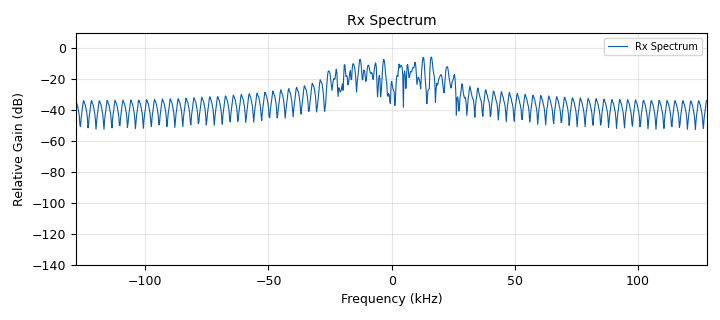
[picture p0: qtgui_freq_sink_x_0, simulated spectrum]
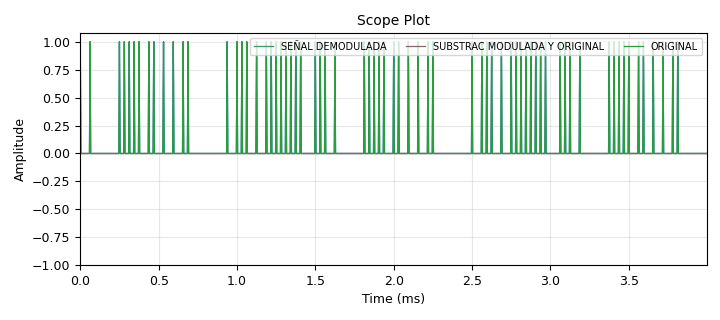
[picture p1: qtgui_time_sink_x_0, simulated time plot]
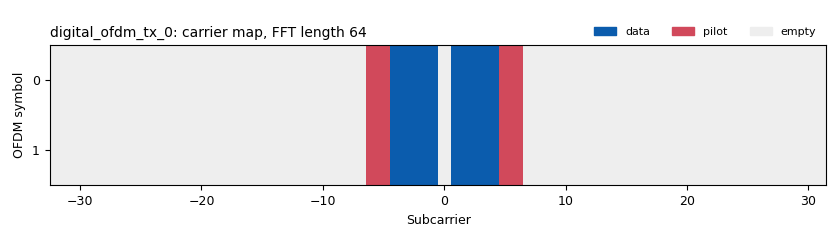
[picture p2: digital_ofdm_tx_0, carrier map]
options:
  parameters:
    category: Custom
    description: Transmit a pre-defined signal (a complex sine) as OFDM packets.
    generate_options: qt_gui
    id: ofdm_loopback_example
    output_language: python
    title: OFDM Loopback Example
  states: {}

blocks:
- name: fft_len
  id: variable
  parameters:
    value: '64'
  states: {}
- name: freq_offset
  id: variable_qtgui_range
  parameters:
    label: freq offset
    start: '-100e-3'
    step: '1e-3'
    stop: '100e-3'
    value: '0'
  states: {}
- name: len_tag_key
  id: variable
  parameters:
    value: '"packet_len"'
  states: {}
- name: noise_offset
  id: variable_qtgui_range
  parameters:
    label: noise offset
    start: '0'
    step: '10e-3'
    stop: '1'
    value: '0'
  states: {}
- name: packet_len
  id: variable
  parameters:
    value: '50'
  states: {}
- name: samp_rate
  id: variable
  parameters:
    value: '256000'
  states: {}
- name: taps
  id: variable
  parameters:
    value: '[1.0 + 0.0j, ]'
  states: {}
- name: time_offset
  id: variable_qtgui_range
  parameters:
    label: time offset
    start: '999e-3'
    step: '1e-6'
    stop: '1.001'
    value: '999e-3'
  states: {}
- name: analog_random_source_x_0
  id: analog_random_source_x
  parameters:
    max: '2'
    min: '0'
    num_samps: packet_len
    repeat: 'True'
    type: byte
  states: {}
- name: blocks_delay_0
  id: blocks_delay
  parameters:
    delay: '100'
    type: byte
  states: {}
- name: blocks_repack_bits_bb_0
  id: blocks_repack_bits_bb
  parameters:
    endianness: gr.GR_LSB_FIRST
    k: '8'
    l: '1'
  states: {}
- name: blocks_repack_bits_bb_0_0
  id: blocks_repack_bits_bb
  parameters:
    endianness: gr.GR_LSB_FIRST
    k: '8'
    l: '1'
  states: {}
- name: blocks_stream_to_tagged_stream_0
  id: blocks_stream_to_tagged_stream
  parameters:
    comment: |-
      Permite etiquetar el paquete 
      de datos generado.
    len_tag_key: len_tag_key
    packet_len: packet_len
    type: byte
  states: {}
- name: blocks_sub_xx_0
  id: blocks_sub_xx
  parameters:
    type: float
  states: {}
- name: blocks_throttle2_0
  id: blocks_throttle2
  parameters:
    samples_per_second: samp_rate
    type: complex
  states: {}
- name: blocks_uchar_to_float_0
  id: blocks_uchar_to_float
  parameters: {}
  states: {}
- name: blocks_uchar_to_float_0_0
  id: blocks_uchar_to_float
  parameters: {}
  states: {}
- name: blocks_vector_source_x_0
  id: blocks_vector_source_x
  parameters:
    repeat: 'True'
    type: byte
    vector: (1,0,0,1)
  states: {state: disabled}
- name: channels_channel_model_0
  id: channels_channel_model
  parameters:
    epsilon: time_offset
    freq_offset: freq_offset
    noise_voltage: noise_offset
    seed: '0'
    taps: taps
  states: {}
- name: digital_ofdm_rx_0
  id: digital_ofdm_rx
  parameters:
    cp_len: fft_len//4
    fft_len: fft_len
    header_mod: '"BPSK"'
    occupied_carriers: ((-4,-3,-2,-1,1,2,3,4),)
    packet_len_key: '"rx_len"'
    payload_mod: '"QPSK"'
    pilot_carriers: ((-6,-5,5,6),)
    pilot_symbols: ((-1,1,-1,1),)
    sync_word1: None
    sync_word2: None
  states: {}
- name: digital_ofdm_tx_0
  id: digital_ofdm_tx
  parameters:
    cp_len: fft_len//4
    fft_len: fft_len
    header_mod: '"BPSK"'
    occupied_carriers: ((-4,-3,-2,-1,1,2,3,4),)
    packet_len_key: len_tag_key
    payload_mod: '"QPSK"'
    pilot_carriers: ((-6,-5,5,6),)
    pilot_symbols: ((-1,1,-1,1),)
    rolloff: '0'
    sync_word1: None
    sync_word2: None
  states: {}
- name: fec_ber_bf_0
  id: fec_ber_bf
  parameters:
    test_mode: 'False'
  states: {}
- name: qtgui_freq_sink_x_0
  id: qtgui_freq_sink_x
  parameters:
    bw: samp_rate
    fc: '0'
    fftsize: '1024'
    label1: Rx Spectrum
    name: Rx Spectrum
    showports: 'True'
    type: complex
  states: {}
- name: qtgui_number_sink_0
  id: qtgui_number_sink
  parameters:
    autoscale: 'True'
    graph_type: qtgui.NUM_GRAPH_HORIZ
    name: '"BER"'
    type: float
  states: {}
- name: qtgui_time_sink_x_0
  id: qtgui_time_sink_x
  parameters:
    color1: cyan
    ctrlpanel: 'True'
    entags: 'False'
    label1: SEÑAL DEMODULADA
    label2: SUBSTRAC MODULADA Y ORIGINAL
    label3: ORIGINAL
    name: Scope Plot
    nconnections: '3'
    size: '1024'
    srate: samp_rate
    type: float
    update_time: '0.30'
  states: {}
- name: virtual_sink_0
  id: virtual_sink
  parameters:
    stream_id: tag1
  states: {}
- name: virtual_sink_1
  id: virtual_sink
  parameters:
    stream_id: original
  states: {}
- name: virtual_source_0
  id: virtual_source
  parameters:
    stream_id: tag1
  states: {}
- name: virtual_source_1
  id: virtual_source
  parameters:
    stream_id: original
  states: {}

connections:
- [analog_random_source_x_0, '0', blocks_stream_to_tagged_stream_0, '0']
- [analog_random_source_x_0, '0', virtual_sink_1, '0']
- [blocks_delay_0, '0', blocks_repack_bits_bb_0_0, '0']
- [blocks_delay_0, '0', fec_ber_bf_0, '1']
- [blocks_repack_bits_bb_0, '0', blocks_uchar_to_float_0, '0']
- [blocks_repack_bits_bb_0_0, '0', blocks_uchar_to_float_0_0, '0']
- [blocks_stream_to_tagged_stream_0, '0', digital_ofdm_tx_0, '0']
- [blocks_sub_xx_0, '0', qtgui_time_sink_x_0, '1']
- [blocks_throttle2_0, '0', channels_channel_model_0, '0']
- [blocks_throttle2_0, '0', qtgui_freq_sink_x_0, '0']
- [blocks_uchar_to_float_0, '0', blocks_sub_xx_0, '0']
- [blocks_uchar_to_float_0, '0', qtgui_time_sink_x_0, '0']
- [blocks_uchar_to_float_0_0, '0', blocks_sub_xx_0, '1']
- [blocks_uchar_to_float_0_0, '0', qtgui_time_sink_x_0, '2']
- [blocks_vector_source_x_0, '0', blocks_stream_to_tagged_stream_0, '0']
- [blocks_vector_source_x_0, '0', virtual_sink_1, '0']
- [channels_channel_model_0, '0', virtual_sink_0, '0']
- [digital_ofdm_rx_0, '0', blocks_repack_bits_bb_0, '0']
- [digital_ofdm_rx_0, '0', fec_ber_bf_0, '0']
- [digital_ofdm_tx_0, '0', blocks_throttle2_0, '0']
- [fec_ber_bf_0, '0', qtgui_number_sink_0, '0']
- [virtual_source_0, '0', digital_ofdm_rx_0, '0']
- [virtual_source_1, '0', blocks_delay_0, '0']

metadata:
  file_format: 1
  grc_version: 3.10.8.0
